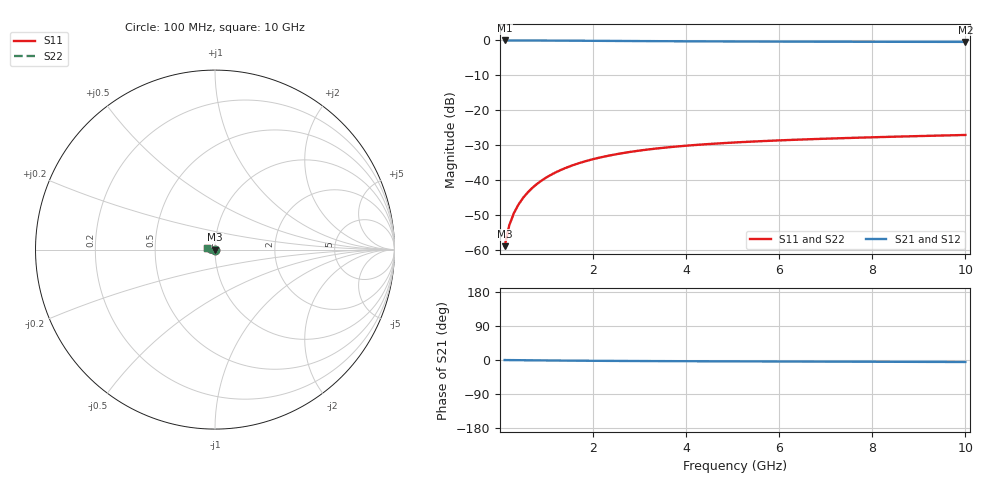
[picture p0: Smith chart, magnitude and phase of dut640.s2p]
! Touchstone file exported from HFSS 2024.1.0
!  File:  C:/UserFiles/LocalFiles/RDL_TSV_Batchsim/temp_TSV1_640_1779791047.aedt
!  Generated:  06:30:43 PM May 26, 2026
!  Design:  TSV1
!  Project:  temp_TSV1_640_1779791047
!  Setup:  Setup1
!  Solution:  Sweep
! Variables:
!  dtsv = 9.43um
!  hbump = 3um
!  htsv = 81.32um
!  lrdl = 252.1521522um
!  p = 40
!  p1 = 52.06um
!  t = 500um
!  trdl = 3um
!  wrdl = 24.89489489um
# GHz S MA R 50.000000
! Terminal data exported
! Port[1] = TSV22_T1
! Port[2] = TSV22_T2
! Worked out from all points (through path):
!   100 points, 100 MHz to 10 GHz, reference 50 ohm
!   highest |S21| = 0.00 dB at 100 MHz (marker M1); lowest = -0.4 dB at 10 GHz (marker M2)
!   lowest |S11| = -58.9 dB at 100 MHz (marker M3), VSWR 1.00, Z = 50 - j0.113 ohm
!   |S11| at or under -10 dB: start of sweep to end of sweep
!   |S22| runs from -58.9 to -27.0 dB; largest |S21 - S12| = 5.7e-15
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0.1  0.00114 -83.6  0.9998 -0.1  0.9998 -0.1  0.00114 -83.6
! Gamma 0 0 0 0
! Port Impedance 50 0 50 0
0.2  0.002264 -89.5  0.9997 -0.2  0.9997 -0.2  0.002264 -89.5
0.3  0.003392 -92.7  0.9995 -0.4  0.9995 -0.4  0.003392 -92.7
0.4  0.004516 -95.3  0.9992 -0.5  0.9992 -0.5  0.004516 -95.3
0.5  0.005631 -97.6  0.9988 -0.6  0.9988 -0.6  0.005631 -97.6
0.6  0.006735 -99.7  0.9984 -0.7  0.9984 -0.7  0.006735 -99.7
0.7  0.007824 -101.8  0.998 -0.8  0.998 -0.8  0.007824 -101.8
0.8  0.008897 -103.8  0.9974 -1.0  0.9974 -1.0  0.008897 -103.8
0.9  0.009951 -105.8  0.9968 -1.1  0.9968 -1.1  0.009951 -105.8
1.1  0.012 -109.6  0.9955 -1.3  0.9955 -1.3  0.012 -109.6
1.4  0.0149 -115.0  0.9933 -1.6  0.9933 -1.6  0.0149 -115.0
1.6  0.0167 -118.4  0.9916 -1.8  0.9916 -1.8  0.0167 -118.4
1.8  0.01841 -121.7  0.9899 -1.9  0.9899 -1.9  0.01841 -121.7
2.1  0.02077 -126.4  0.9872 -2.2  0.9872 -2.2  0.02077 -126.4
2.5  0.02357 -132.2  0.9837 -2.4  0.9837 -2.4  0.02357 -132.2
2.9  0.02601 -137.5  0.9804 -2.7  0.9804 -2.7  0.02601 -137.5
3.4  0.02861 -143.6  0.9765 -2.9  0.9765 -2.9  0.02861 -143.6
4.2  0.03195 -152.0  0.9712 -3.3  0.9712 -3.3  0.03195 -152.0
5.1  0.03485 -160.1  0.9665 -3.6  0.9665 -3.6  0.03485 -160.1
6.7  0.0387 -171.9  0.9604 -4.2  0.9604 -4.2  0.0387 -171.9
8.4  0.04185 178.1  0.9563 -4.7  0.9563 -4.7  0.04185 178.1
10  0.04444 170.2  0.9536 -5.3  0.9536 -5.3  0.04443 170.2
